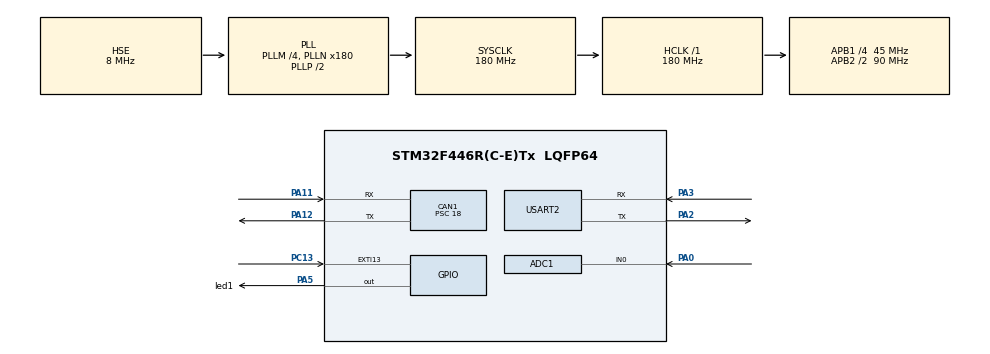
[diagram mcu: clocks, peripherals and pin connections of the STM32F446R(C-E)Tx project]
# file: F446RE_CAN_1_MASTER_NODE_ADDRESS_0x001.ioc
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ADC1.Channel-0\#ChannelRegularConversion=ADC_CHANNEL_0
ADC1.NbrOfConversionFlag=1
ADC1.Rank-0\#ChannelRegularConversion=1
ADC1.SamplingTime-0\#ChannelRegularConversion=ADC_SAMPLETIME_3CYCLES
ADC1.master=1
CAN1.BS1=CAN_BS1_2TQ
CAN1.BS2=CAN_BS2_2TQ
CAN1.CalculateBaudRate=500000
CAN1.CalculateTimeBit=2000
CAN1.CalculateTimeQuantum=400.0
CAN1.Prescaler=18
Mcu.Family=STM32F4
Mcu.Name=STM32F446R(C-E)Tx
Mcu.Package=LQFP64
NVIC.EXTI15_10_IRQn=true\:0\:0\:false\:false\:true\:true\:true\:true
NVIC.PriorityGroup=NVIC_PRIORITYGROUP_0
PA0-WKUP.Signal=ADCx_IN0
PA11.Mode=CAN_Activate
PA11.Signal=CAN1_RX
PA12.Mode=CAN_Activate
PA12.Signal=CAN1_TX
PA13.Mode=Serial_Wire
PA13.Signal=SYS_JTMS-SWDIO
PA14.Mode=Serial_Wire
PA14.Signal=SYS_JTCK-SWCLK
PA2.Mode=Asynchronous
PA2.Signal=USART2_TX
PA3.Mode=Asynchronous
PA3.Signal=USART2_RX
PA5.GPIO_Label=led1
PA5.Signal=GPIO_Output
PC13.Signal=GPXTI13
PH0-OSC_IN.Mode=HSE-External-Oscillator
PH0-OSC_IN.Signal=RCC_OSC_IN
PH1-OSC_OUT.Mode=HSE-External-Oscillator
PH1-OSC_OUT.Signal=RCC_OSC_OUT
ProjectManager.HeapSize=0x200
ProjectManager.StackSize=0x400
ProjectManager.TargetToolchain=STM32CubeIDE
RCC.48MHZClocksFreq_Value=84000000
RCC.AHBFreq_Value=180000000
RCC.APB1CLKDivider=RCC_HCLK_DIV4
RCC.APB1Freq_Value=45000000
RCC.APB1TimFreq_Value=90000000
RCC.APB2CLKDivider=RCC_HCLK_DIV2
RCC.APB2Freq_Value=90000000
RCC.APB2TimFreq_Value=180000000
RCC.CortexFreq_Value=180000000
RCC.FLatency-AdvancedSettings=FLASH_LATENCY_5
RCC.HCLKFreq_Value=180000000
RCC.HSE_VALUE=8000000
RCC.HSI_VALUE=16000000
RCC.PLLM=4
RCC.PLLN=180
RCC.PLLSourceVirtual=RCC_PLLSOURCE_HSE
RCC.SYSCLKFreq_VALUE=180000000
RCC.SYSCLKSource=RCC_SYSCLKSOURCE_PLLCLK
RCC.USBFreq_Value=180000000
RCC.VCOOutputFreq_Value=360000000
SH.ADCx_IN0.0=ADC1_IN0,IN0
USART2.VirtualMode=VM_ASYNC
board=NUCLEO-F446RE

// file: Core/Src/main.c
/* USER CODE BEGIN Header */
/**
  ******************************************************************************
  * @file           : main.c
  * @brief          : Main program body
  ******************************************************************************
  * @attention
  *
  * Copyright (c) 2024 STMicroelectronics.
  * All rights reserved.
  *
  * This software is licensed under terms that can be found in the LICENSE file
  * in the root directory of this software component.
  * If no LICENSE file comes with this software, it is provided AS-IS.
  *
  ******************************************************************************
  */
/* USER CODE END Header */
#include "main.h"

ADC_HandleTypeDef hadc1;

CAN_HandleTypeDef hcan1;

UART_HandleTypeDef huart2;

/* USER CODE BEGIN PV */

CAN_TxHeaderTypeDef TxHeader;

uint8_t TxData[8];

uint32_t TxMailbox;

/* USER CODE END PV */

void SystemClock_Config(void);
static void MX_GPIO_Init(void);
static void MX_USART2_UART_Init(void);
static void MX_CAN1_Init(void);
static void MX_ADC1_Init(void);

/* USER CODE BEGIN 0 */
void HAL_GPIO_EXTI_Callback(uint16_t GPIO_Pin)
{
	if(GPIO_Pin == GPIO_PIN_13)
	{
		TxData[0] = 'M';
		TxData[1] = 'O';
		TxData[2] = 'N';
		TxData[3] = 'T';
		TxData[4] = 'Y';
		TxData[5] = ' ';
		TxData[6] = 'C';
		TxData[7] = 'H';

		if(HAL_CAN_AddTxMessage(&hcan1, &TxHeader, TxData, &TxMailbox) != HAL_OK)
		{
			Error_Handler();
		}
	}
}
/* USER CODE END 0 */

int main(void)
{

  /* MCU Configuration--------------------------------------------------------*/

  /* Reset of all peripherals, Initializes the Flash interface and the Systick. */
  HAL_Init();

  /* Configure the system clock */
  SystemClock_Config();

  /* Initialize all configured peripherals */
  MX_GPIO_Init();
  MX_USART2_UART_Init();
  MX_CAN1_Init();
  MX_ADC1_Init();
  /* USER CODE BEGIN 2 */
  HAL_CAN_Start(&hcan1);

  TxHeader.DLC = 8;
  TxHeader.ExtId = 0;
  TxHeader.IDE = CAN_ID_STD;
  TxHeader.RTR = CAN_RTR_DATA;
  TxHeader.StdId = 0x123;

  uint8_t i = 0;
  /* USER CODE END 2 */

  /* Infinite loop */
  /* USER CODE BEGIN WHILE */
  while (1)
  {

//	TxData[0] = 1 + i;
//	TxData[1] = 2 + i;
//	TxData[2] = 3 + i;
//	TxData[3] = 4 + i;
//	TxData[4] = 5 + i;
//	TxData[5] = 6 + i;
//	TxData[6] = 7 + i;
//	TxData[7] = 8 + i;
//	i++;
//	if(HAL_CAN_AddTxMessage(&hcan1, &TxHeader, TxData, &TxMailbox) != HAL_OK)
//	{
//		Error_Handler();
//	}
//	HAL_Delay(500);
    /* USER CODE END WHILE */

  }
}

void SystemClock_Config(void)
{
  RCC_OscInitTypeDef RCC_OscInitStruct = {0};
  RCC_ClkInitTypeDef RCC_ClkInitStruct = {0};

  /** Configure the main internal regulator output voltage
  */
  __HAL_RCC_PWR_CLK_ENABLE();
  __HAL_PWR_VOLTAGESCALING_CONFIG(PWR_REGULATOR_VOLTAGE_SCALE1);

  /** Initializes the RCC Oscillators according to the specified parameters
  * in the RCC_OscInitTypeDef structure.
  */
  RCC_OscInitStruct.OscillatorType = RCC_OSCILLATORTYPE_HSE;
  RCC_OscInitStruct.HSEState = RCC_HSE_ON;
  RCC_OscInitStruct.PLL.PLLState = RCC_PLL_ON;
  RCC_OscInitStruct.PLL.PLLSource = RCC_PLLSOURCE_HSE;
  RCC_OscInitStruct.PLL.PLLM = 4;
  RCC_OscInitStruct.PLL.PLLN = 180;
  RCC_OscInitStruct.PLL.PLLP = RCC_PLLP_DIV2;
  RCC_OscInitStruct.PLL.PLLQ = 2;
  RCC_OscInitStruct.PLL.PLLR = 2;
  if (HAL_RCC_OscConfig(&RCC_OscInitStruct) != HAL_OK)
  {
    Error_Handler();
  }

  /** Activate the Over-Drive mode
  */
  if (HAL_PWREx_EnableOverDrive() != HAL_OK)
  {
    Error_Handler();
  }

  /** Initializes the CPU, AHB and APB buses clocks
  */
  RCC_ClkInitStruct.ClockType = RCC_CLOCKTYPE_HCLK|RCC_CLOCKTYPE_SYSCLK
                              |RCC_CLOCKTYPE_PCLK1|RCC_CLOCKTYPE_PCLK2;
  RCC_ClkInitStruct.SYSCLKSource = RCC_SYSCLKSOURCE_PLLCLK;
  RCC_ClkInitStruct.AHBCLKDivider = RCC_SYSCLK_DIV1;
  RCC_ClkInitStruct.APB1CLKDivider = RCC_HCLK_DIV4;
  RCC_ClkInitStruct.APB2CLKDivider = RCC_HCLK_DIV2;

  if (HAL_RCC_ClockConfig(&RCC_ClkInitStruct, FLASH_LATENCY_5) != HAL_OK)
  {
    Error_Handler();
  }
}

static void MX_ADC1_Init(void)
{

  ADC_ChannelConfTypeDef sConfig = {0};

  /** Configure the global features of the ADC (Clock, Resolution, Data Alignment and number of conversion)
  */
  hadc1.Instance = ADC1;
  hadc1.Init.ClockPrescaler = ADC_CLOCK_SYNC_PCLK_DIV4;
  hadc1.Init.Resolution = ADC_RESOLUTION_12B;
  hadc1.Init.ScanConvMode = DISABLE;
  hadc1.Init.ContinuousConvMode = DISABLE;
  hadc1.Init.DiscontinuousConvMode = DISABLE;
  hadc1.Init.ExternalTrigConvEdge = ADC_EXTERNALTRIGCONVEDGE_NONE;
  hadc1.Init.ExternalTrigConv = ADC_SOFTWARE_START;
  hadc1.Init.DataAlign = ADC_DATAALIGN_RIGHT;
  hadc1.Init.NbrOfConversion = 1;
  hadc1.Init.DMAContinuousRequests = DISABLE;
  hadc1.Init.EOCSelection = ADC_EOC_SINGLE_CONV;
  if (HAL_ADC_Init(&hadc1) != HAL_OK)
  {
    Error_Handler();
  }

  /** Configure for the selected ADC regular channel its corresponding rank in the sequencer and its sample time.
  */
  sConfig.Channel = ADC_CHANNEL_0;
  sConfig.Rank = 1;
  sConfig.SamplingTime = ADC_SAMPLETIME_3CYCLES;
  if (HAL_ADC_ConfigChannel(&hadc1, &sConfig) != HAL_OK)
  {
    Error_Handler();
  }

}

static void MX_CAN1_Init(void)
{

  hcan1.Instance = CAN1;
  hcan1.Init.Prescaler = 18;
  hcan1.Init.Mode = CAN_MODE_NORMAL;
  hcan1.Init.SyncJumpWidth = CAN_SJW_1TQ;
  hcan1.Init.TimeSeg1 = CAN_BS1_2TQ;
  hcan1.Init.TimeSeg2 = CAN_BS2_2TQ;
  hcan1.Init.TimeTriggeredMode = DISABLE;
  hcan1.Init.AutoBusOff = DISABLE;
  hcan1.Init.AutoWakeUp = DISABLE;
  hcan1.Init.AutoRetransmission = DISABLE;
  hcan1.Init.ReceiveFifoLocked = DISABLE;
  hcan1.Init.TransmitFifoPriority = DISABLE;
  if (HAL_CAN_Init(&hcan1) != HAL_OK)
  {
    Error_Handler();
  }

}

static void MX_USART2_UART_Init(void)
{

  huart2.Instance = USART2;
  huart2.Init.BaudRate = 115200;
  huart2.Init.WordLength = UART_WORDLENGTH_8B;
  huart2.Init.StopBits = UART_STOPBITS_1;
  huart2.Init.Parity = UART_PARITY_NONE;
  huart2.Init.Mode = UART_MODE_TX_RX;
  huart2.Init.HwFlowCtl = UART_HWCONTROL_NONE;
  huart2.Init.OverSampling = UART_OVERSAMPLING_16;
  if (HAL_UART_Init(&huart2) != HAL_OK)
  {
    Error_Handler();
  }

}

static void MX_GPIO_Init(void)
{
  GPIO_InitTypeDef GPIO_InitStruct = {0};

  /* GPIO Ports Clock Enable */
  __HAL_RCC_GPIOC_CLK_ENABLE();
  __HAL_RCC_GPIOH_CLK_ENABLE();
  __HAL_RCC_GPIOA_CLK_ENABLE();

  /*Configure GPIO pin Output Level */
  HAL_GPIO_WritePin(led1_GPIO_Port, led1_Pin, GPIO_PIN_RESET);

  /*Configure GPIO pin : PC13 */
  GPIO_InitStruct.Pin = GPIO_PIN_13;
  GPIO_InitStruct.Mode = GPIO_MODE_IT_RISING;
  GPIO_InitStruct.Pull = GPIO_NOPULL;
  HAL_GPIO_Init(GPIOC, &GPIO_InitStruct);

  /*Configure GPIO pin : led1_Pin */
  GPIO_InitStruct.Pin = led1_Pin;
  GPIO_InitStruct.Mode = GPIO_MODE_OUTPUT_PP;
  GPIO_InitStruct.Pull = GPIO_NOPULL;
  GPIO_InitStruct.Speed = GPIO_SPEED_FREQ_LOW;
  HAL_GPIO_Init(led1_GPIO_Port, &GPIO_InitStruct);

  /* EXTI interrupt init*/
  HAL_NVIC_SetPriority(EXTI15_10_IRQn, 0, 0);
  HAL_NVIC_EnableIRQ(EXTI15_10_IRQn);

}

void Error_Handler(void)
{
  __disable_irq();
  while (1)
  {
  }
}
